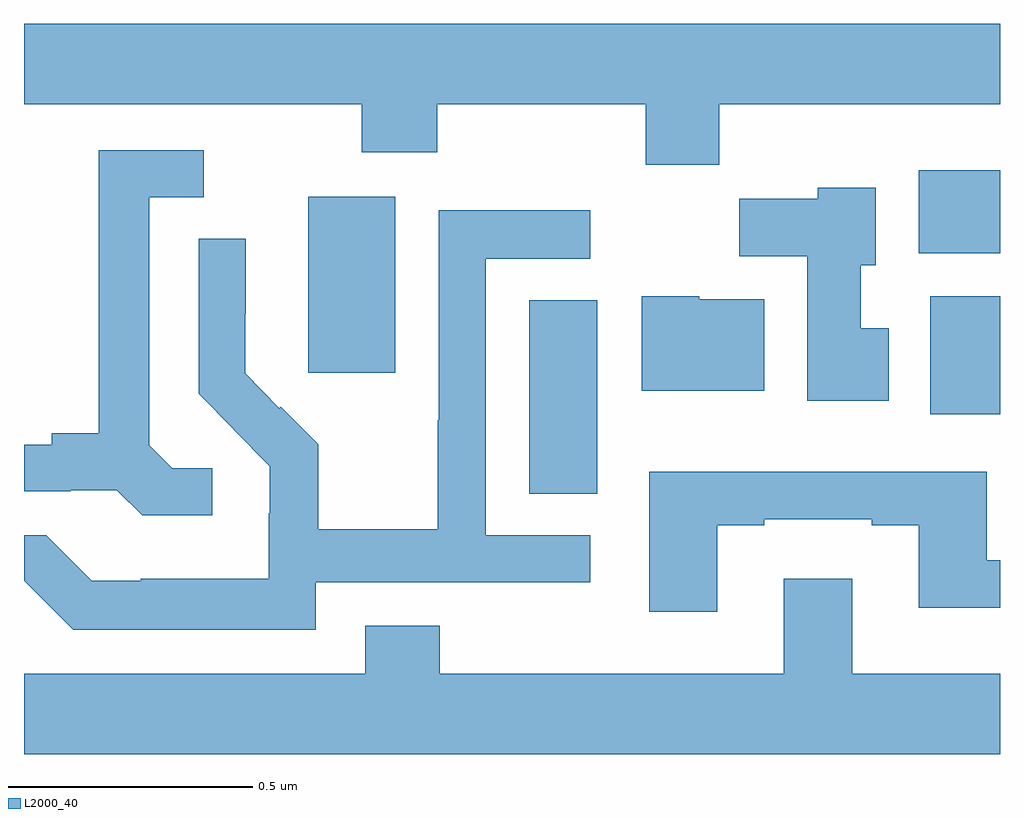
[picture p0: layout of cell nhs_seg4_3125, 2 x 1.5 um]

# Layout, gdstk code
import gdstk
lib = gdstk.Library(unit=1e-6, precision=1e-09)
def R(c, l, rs):  # rectangles x0, y0, x1, y1
    for r in rs: c.add(gdstk.rectangle(r[:2], r[2:], *l))
def P(c, l, *ps):  # polygons
    for p in ps: c.add(gdstk.Polygon(p, *l))
L2000_40 = (2000, 40)

nhs_seg4_3125 = lib.new_cell('nhs_seg4_3125')
R(nhs_seg4_3125, L2000_40, [(150.035,794.689,150.175,795.086), (150.857,794.852,151,795.094), (149.582,794.937,149.761,795.298), (150.833,795.182,151,795.352)])
P(nhs_seg4_3125, L2000_40, [(150.425,795.488),(151,795.488),(151,795.652),(149,795.652),(149,795.488),(149.692,795.488),(149.692,795.389),(149.847,795.389),(149.847,795.488),(150.274,795.488),(150.274,795.364),(150.425,795.364)],
  [(149.386,794.742),(149.304,794.742),(149.257,794.789),(149.257,795.297),(149.368,795.297),(149.368,795.393),(149.153,795.393),(149.153,794.813),(149.057,794.813),(149.057,794.79),(149,794.79),(149,794.694),(149.096,794.694),(149.096,794.697),(149.19,794.697),(149.242,794.645),(149.386,794.645)],
  [(150.772,795.028),(150.715,795.028),(150.715,795.158),(150.745,795.158),(150.745,795.316),(150.627,795.316),(150.627,795.294),(150.466,795.294),(150.466,795.176),(150.605,795.176),(150.605,794.88),(150.772,794.88)],
  [(149.598,794.508),(150.16,794.508),(150.16,794.604),(149.946,794.604),(149.946,795.171),(150.16,795.171),(150.16,795.27),(149.85,795.27),(149.85,794.84),(149.848,794.84),(149.848,794.617),(149.603,794.617),(149.603,794.791),(149.526,794.868),(149.523,794.865),(149.453,794.936),(149.453,795.058),(149.454,795.058),(149.454,795.212),(149.358,795.212),(149.358,794.894),(149.431,794.821),(149.43,794.82),(149.504,794.746),(149.504,794.649),(149.502,794.649),(149.502,794.515),(149.239,794.515),(149.239,794.511),(149.139,794.511),(149.046,794.604),(149,794.604),(149,794.511),(149.001,794.511),(149.101,794.411),(149.598,794.411)],
  [(150.517,795.088),(150.384,795.088),(150.384,795.094),(150.266,795.094),(150.266,794.9),(150.517,794.9)],
  [(150.421,794.625),(150.517,794.625),(150.517,794.637),(150.737,794.637),(150.737,794.625),(150.833,794.625),(150.833,794.456),(151,794.456),(151,794.553),(150.973,794.553),(150.973,794.734),(150.281,794.734),(150.281,794.448),(150.421,794.448)],
  [(151,794.32),(150.697,794.32),(150.697,794.515),(150.557,794.515),(150.557,794.32),(149.852,794.32),(149.852,794.419),(149.699,794.419),(149.699,794.32),(149,794.32),(149,794.156),(151,794.156)])

lib.write_gds('nhs_seg4_3125.gds')
